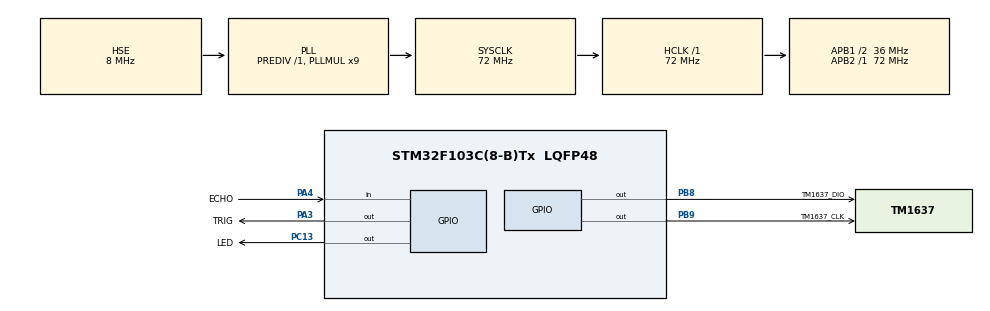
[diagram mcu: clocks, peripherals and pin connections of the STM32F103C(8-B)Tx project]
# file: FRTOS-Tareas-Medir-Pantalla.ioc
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Mcu.Family=STM32F1
RCC.PLLSourceVirtual=RCC_PLLSOURCE_HSE
PD1-OSC_OUT.Mode=HSE-External-Oscillator
PB9.GPIO_Label=TM1637_CLK
PB9.GPIO_ModeDefaultOutputPP=GPIO_MODE_OUTPUT_OD
PC13-TAMPER-RTC.Signal=GPIO_Output
NVIC.TIM1_UP_IRQn=true\:0\:0\:false\:false\:true\:false\:true
PD0-OSC_IN.Signal=RCC_OSC_IN
RCC.APB1CLKDivider=RCC_HCLK_DIV2
RCC.SYSCLKSource=RCC_SYSCLKSOURCE_PLLCLK
ProjectManager.StackSize=0x400
PD1-OSC_OUT.Signal=RCC_OSC_OUT
PA13.Signal=SYS_JTMS-SWDIO
PB8.GPIO_Label=TM1637_DIO
ProjectManager.TargetToolchain=STM32CubeIDE
RCC.HCLKFreq_Value=72000000
RCC.APB2TimFreq_Value=72000000
RCC.USBFreq_Value=72000000
RCC.AHBFreq_Value=72000000
PD0-OSC_IN.Mode=HSE-External-Oscillator
board=custom
PC13-TAMPER-RTC.GPIO_Label=LED
RCC.PLLMUL=RCC_PLL_MUL9
RCC.APB2Freq_Value=72000000
VP_TIM2_VS_ClockSourceINT.Mode=Internal
PA14.Mode=Serial_Wire
VP_SYS_VS_tim1.Mode=TIM1
PB8.PinState=GPIO_PIN_SET
PA13.Mode=Serial_Wire
Mcu.Name=STM32F103C(8-B)Tx
PA4.Signal=GPIO_Input
RCC.SYSCLKFreq_VALUE=72000000
Mcu.Package=LQFP48
PB9.Signal=GPIO_Output
TIM2.Prescaler=71
NVIC.TimeBase=TIM1_UP_IRQn
PB9.PinState=GPIO_PIN_SET
NVIC.TimeBaseIP=TIM1
PA14.Signal=SYS_JTCK-SWCLK
ProjectManager.HeapSize=0x200
PB8.GPIO_ModeDefaultOutputPP=GPIO_MODE_OUTPUT_OD
NVIC.PriorityGroup=NVIC_PRIORITYGROUP_4
PB9.GPIO_Speed=GPIO_SPEED_FREQ_MEDIUM
RCC.APB1TimFreq_Value=72000000
PB8.Signal=GPIO_Output
RCC.APB1Freq_Value=36000000
PB8.GPIO_Speed=GPIO_SPEED_FREQ_MEDIUM
PA4.GPIO_Label=ECHO
PA3.GPIO_Label=TRIG
PA3.Signal=GPIO_Output

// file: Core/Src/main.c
/* USER CODE BEGIN Header */
/**
  ******************************************************************************
  * @file           : main.c
  * @brief          : Main program body
  ******************************************************************************
  * @attention
  *
  * <h2><center>&copy; Copyright (c) 2024 STMicroelectronics.
  * All rights reserved.</center></h2>
  *
  * This software component is licensed by ST under BSD 3-Clause license,
  * the "License"; You may not use this file except in compliance with the
  * License. You may obtain a copy of the License at:
  *                        opensource.org/licenses/BSD-3-Clause
  *
  ******************************************************************************
  */
/* USER CODE END Header */
#include "main.h"

/* USER CODE BEGIN Includes */
#include "tm1637_lib.h"
#include "FreeRTOS.h"
#include "task.h"
#include "queue.h"
/* USER CODE END Includes */

TIM_HandleTypeDef htim2;

/* USER CODE BEGIN PV */
//uint32_t pMillis;
//uint32_t val1 = 0;
//uint32_t val2 = 0;
//uint16_t distance  = 0;
float distance  = 0;
char string[15];
QueueHandle_t queue_AM, queue_PA, queue_CA;
struct datConf { int max; int min;};
int max = 50;
int min = 10;
/* USER CODE END PV */

void SystemClock_Config(void);
static void MX_GPIO_Init(void);
static void MX_TIM2_Init(void);

/* USER CODE BEGIN 0 */
static void Medir(void *pvParameters){
	uint32_t distancia = 0, pMillis, val1 = 0, val2 = 0;
	while(1){
		HAL_GPIO_WritePin(TRIG_GPIO_Port, TRIG_Pin, GPIO_PIN_SET);
		__HAL_TIM_SET_COUNTER(&htim2, 0);
		while (__HAL_TIM_GET_COUNTER (&htim2) < 10);  // wait for 10 us
		HAL_GPIO_WritePin(TRIG_GPIO_Port, TRIG_Pin, GPIO_PIN_RESET);

		pMillis = HAL_GetTick();
		while (!(HAL_GPIO_ReadPin (ECHO_GPIO_Port, ECHO_Pin)) && pMillis + 10 >  HAL_GetTick());
		val1 = __HAL_TIM_GET_COUNTER (&htim2);

		pMillis = HAL_GetTick();
		while ((HAL_GPIO_ReadPin (ECHO_GPIO_Port, ECHO_Pin)) && pMillis + 50 > HAL_GetTick());
		val2 = __HAL_TIM_GET_COUNTER (&htim2);
		//distance = (val2-val1)* 0.036/2;
		distancia = (val2-val1)* 0.036/2;
		xQueueSend(queue_AM, &distancia, portMAX_DELAY);
		vTaskDelay(60/portTICK_PERIOD_MS);
	}
}

static void Display(void *pvParameters){
	uint32_t distancia = 0;
	while(1){
		xQueueReceive(queue_PA, &distancia, portMAX_DELAY);
		tm1637_ShowNumber(distancia);
	}
}

static void Alarm(void *pvParameters){
	uint32_t distancia = 0;
	struct datConf config;
	while(1){
		xQueueReceive(queue_AM, &distancia, portMAX_DELAY);
		xQueueSend(queue_PA, &distancia, portMAX_DELAY);
		xQueueReceive(queue_CA, &config, portMAX_DELAY);
		if((distancia > config.max)||(distancia < config.min)){HAL_GPIO_WritePin(LED_GPIO_Port, LED_Pin, GPIO_PIN_SET);}
		else {HAL_GPIO_WritePin(LED_GPIO_Port, LED_Pin, GPIO_PIN_RESET);}
	}
}

static void Config(void *pvParameters){
	struct datConf config;
	while(1){
		config.max = max;
		config.min = min;
		xQueueSend(queue_CA, &config, portMAX_DELAY);
	}
}
/* USER CODE END 0 */

int main(void)
{

  /* MCU Configuration--------------------------------------------------------*/

  /* Reset of all peripherals, Initializes the Flash interface and the Systick. */
  HAL_Init();

  /* Configure the system clock */
  SystemClock_Config();

  /* Initialize all configured peripherals */
  MX_GPIO_Init();
  MX_TIM2_Init();
  /* USER CODE BEGIN 2 */
  HAL_TIM_Base_Start(&htim2);
  HAL_GPIO_WritePin(TRIG_GPIO_Port, TRIG_Pin, GPIO_PIN_RESET);
  tm1637_SetBrightness(3);//Set max brightness
  tm1637_DisplayUpdate(0,0,0,0);//Clear display (all segments off)

  queue_PA = xQueueCreate(1,sizeof(uint32_t));
  queue_AM = xQueueCreate(1,sizeof(uint32_t));
  queue_CA = xQueueCreate(1,sizeof(struct datConf));

  xTaskCreate(Medir, "", 100, NULL, 1, NULL);
  xTaskCreate(Display, "", 100, NULL, 1, NULL);
  xTaskCreate(Alarm, "", 100, NULL, 1, NULL);
  xTaskCreate(Config, "", 100, NULL, 1, NULL);
  vTaskStartScheduler();
  /* USER CODE END 2 */

  /* Infinite loop */
  while (1)
  {

  }
}

void SystemClock_Config(void)
{
  RCC_OscInitTypeDef RCC_OscInitStruct = {0};
  RCC_ClkInitTypeDef RCC_ClkInitStruct = {0};

  /** Initializes the RCC Oscillators according to the specified parameters
  * in the RCC_OscInitTypeDef structure.
  */
  RCC_OscInitStruct.OscillatorType = RCC_OSCILLATORTYPE_HSE;
  RCC_OscInitStruct.HSEState = RCC_HSE_ON;
  RCC_OscInitStruct.HSEPredivValue = RCC_HSE_PREDIV_DIV1;
  RCC_OscInitStruct.HSIState = RCC_HSI_ON;
  RCC_OscInitStruct.PLL.PLLState = RCC_PLL_ON;
  RCC_OscInitStruct.PLL.PLLSource = RCC_PLLSOURCE_HSE;
  RCC_OscInitStruct.PLL.PLLMUL = RCC_PLL_MUL9;
  if (HAL_RCC_OscConfig(&RCC_OscInitStruct) != HAL_OK)
  {
    Error_Handler();
  }
  /** Initializes the CPU, AHB and APB buses clocks
  */
  RCC_ClkInitStruct.ClockType = RCC_CLOCKTYPE_HCLK|RCC_CLOCKTYPE_SYSCLK
                              |RCC_CLOCKTYPE_PCLK1|RCC_CLOCKTYPE_PCLK2;
  RCC_ClkInitStruct.SYSCLKSource = RCC_SYSCLKSOURCE_PLLCLK;
  RCC_ClkInitStruct.AHBCLKDivider = RCC_SYSCLK_DIV1;
  RCC_ClkInitStruct.APB1CLKDivider = RCC_HCLK_DIV2;
  RCC_ClkInitStruct.APB2CLKDivider = RCC_HCLK_DIV1;

  if (HAL_RCC_ClockConfig(&RCC_ClkInitStruct, FLASH_LATENCY_2) != HAL_OK)
  {
    Error_Handler();
  }
}

static void MX_TIM2_Init(void)
{

  TIM_ClockConfigTypeDef sClockSourceConfig = {0};
  TIM_MasterConfigTypeDef sMasterConfig = {0};

  htim2.Instance = TIM2;
  htim2.Init.Prescaler = 71;
  htim2.Init.CounterMode = TIM_COUNTERMODE_UP;
  htim2.Init.Period = 65535;
  htim2.Init.ClockDivision = TIM_CLOCKDIVISION_DIV1;
  htim2.Init.AutoReloadPreload = TIM_AUTORELOAD_PRELOAD_DISABLE;
  if (HAL_TIM_Base_Init(&htim2) != HAL_OK)
  {
    Error_Handler();
  }
  sClockSourceConfig.ClockSource = TIM_CLOCKSOURCE_INTERNAL;
  if (HAL_TIM_ConfigClockSource(&htim2, &sClockSourceConfig) != HAL_OK)
  {
    Error_Handler();
  }
  sMasterConfig.MasterOutputTrigger = TIM_TRGO_RESET;
  sMasterConfig.MasterSlaveMode = TIM_MASTERSLAVEMODE_DISABLE;
  if (HAL_TIMEx_MasterConfigSynchronization(&htim2, &sMasterConfig) != HAL_OK)
  {
    Error_Handler();
  }

}

static void MX_GPIO_Init(void)
{
  GPIO_InitTypeDef GPIO_InitStruct = {0};

  /* GPIO Ports Clock Enable */
  __HAL_RCC_GPIOC_CLK_ENABLE();
  __HAL_RCC_GPIOD_CLK_ENABLE();
  __HAL_RCC_GPIOA_CLK_ENABLE();
  __HAL_RCC_GPIOB_CLK_ENABLE();

  /*Configure GPIO pin Output Level */
  HAL_GPIO_WritePin(LED_GPIO_Port, LED_Pin, GPIO_PIN_RESET);

  /*Configure GPIO pin Output Level */
  HAL_GPIO_WritePin(TRIG_GPIO_Port, TRIG_Pin, GPIO_PIN_RESET);

  /*Configure GPIO pin Output Level */
  HAL_GPIO_WritePin(GPIOB, TM1637_DIO_Pin|TM1637_CLK_Pin, GPIO_PIN_SET);

  /*Configure GPIO pin : LED_Pin */
  GPIO_InitStruct.Pin = LED_Pin;
  GPIO_InitStruct.Mode = GPIO_MODE_OUTPUT_PP;
  GPIO_InitStruct.Pull = GPIO_NOPULL;
  GPIO_InitStruct.Speed = GPIO_SPEED_FREQ_LOW;
  HAL_GPIO_Init(LED_GPIO_Port, &GPIO_InitStruct);

  /*Configure GPIO pin : TRIG_Pin */
  GPIO_InitStruct.Pin = TRIG_Pin;
  GPIO_InitStruct.Mode = GPIO_MODE_OUTPUT_PP;
  GPIO_InitStruct.Pull = GPIO_NOPULL;
  GPIO_InitStruct.Speed = GPIO_SPEED_FREQ_LOW;
  HAL_GPIO_Init(TRIG_GPIO_Port, &GPIO_InitStruct);

  /*Configure GPIO pin : ECHO_Pin */
  GPIO_InitStruct.Pin = ECHO_Pin;
  GPIO_InitStruct.Mode = GPIO_MODE_INPUT;
  GPIO_InitStruct.Pull = GPIO_NOPULL;
  HAL_GPIO_Init(ECHO_GPIO_Port, &GPIO_InitStruct);

  /*Configure GPIO pins : TM1637_DIO_Pin TM1637_CLK_Pin */
  GPIO_InitStruct.Pin = TM1637_DIO_Pin|TM1637_CLK_Pin;
  GPIO_InitStruct.Mode = GPIO_MODE_OUTPUT_OD;
  GPIO_InitStruct.Pull = GPIO_NOPULL;
  GPIO_InitStruct.Speed = GPIO_SPEED_FREQ_MEDIUM;
  HAL_GPIO_Init(GPIOB, &GPIO_InitStruct);

}

 /**
  * @brief  Period elapsed callback in non blocking mode
  * @note   This function is called  when TIM1 interrupt took place, inside
  * HAL_TIM_IRQHandler(). It makes a direct call to HAL_IncTick() to increment
  * a global variable "uwTick" used as application time base.
  * @param  htim : TIM handle
  * @retval None
  */
void HAL_TIM_PeriodElapsedCallback(TIM_HandleTypeDef *htim)
{
  if (htim->Instance == TIM1) {
    HAL_IncTick();
  }
}

void Error_Handler(void)
{
  __disable_irq();
  while (1)
  {
  }
}

/************************ (C) COPYRIGHT STMicroelectronics *****END OF FILE****/
